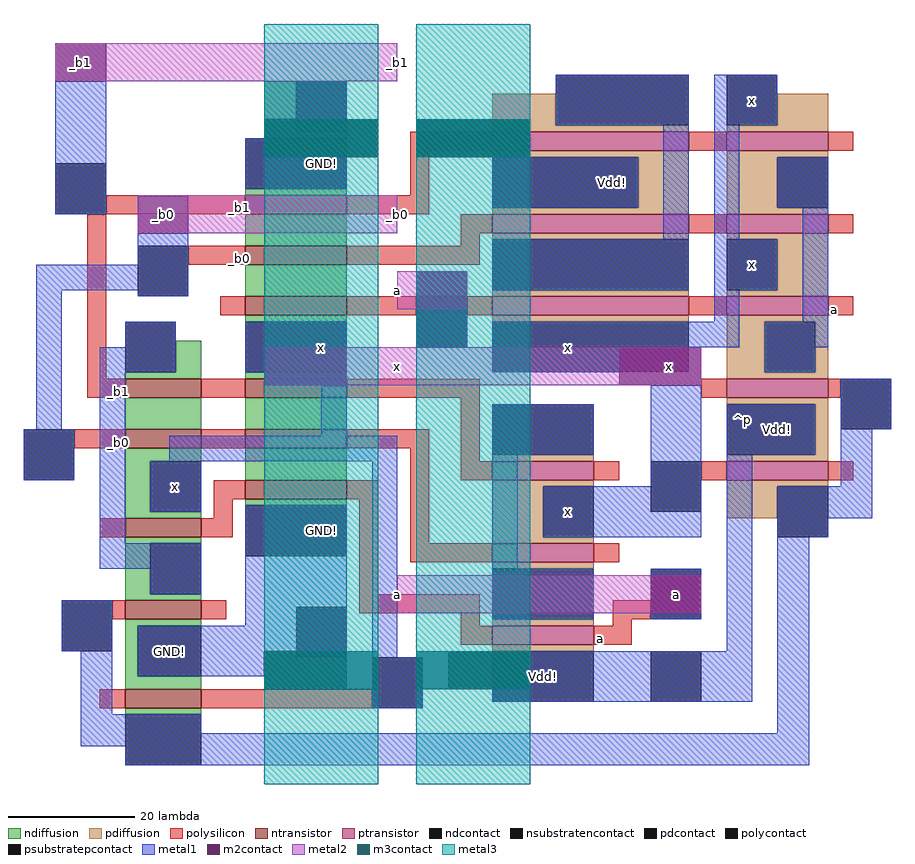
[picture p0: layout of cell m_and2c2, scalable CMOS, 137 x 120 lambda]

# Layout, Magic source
magic
tech scmos
<< ndiffusion >>
rect -21 130 -16 138
rect -21 129 -8 130
rect -24 120 -8 121
rect -24 112 -8 117
rect -24 104 -8 109
rect -24 100 -8 101
rect -35 92 -31 97
rect -43 91 -31 92
rect -24 91 -8 92
rect -43 83 -31 88
rect -24 83 -8 88
rect -43 78 -31 80
rect -43 70 -39 78
rect -24 75 -8 80
rect -43 69 -31 70
rect -24 71 -8 72
rect -43 65 -31 66
rect -43 57 -39 65
rect -43 56 -31 57
rect -43 52 -31 53
rect -43 44 -41 52
rect -43 42 -31 44
rect -43 38 -31 39
<< pdiffusion >>
rect 15 131 25 136
rect 15 130 46 131
rect 60 131 68 136
rect 52 130 68 131
rect 15 126 46 127
rect 38 118 46 126
rect 15 117 46 118
rect 52 126 68 127
rect 52 118 60 126
rect 52 117 68 118
rect 15 113 46 114
rect 15 104 46 105
rect 52 113 68 114
rect 60 105 68 113
rect 52 104 68 105
rect 15 100 46 101
rect 52 100 68 101
rect 52 92 58 100
rect 66 92 68 100
rect 52 91 68 92
rect 52 87 68 88
rect 15 78 31 79
rect 66 79 68 87
rect 52 78 68 79
rect 15 74 31 75
rect 15 66 23 74
rect 52 74 68 75
rect 52 69 60 74
rect 15 65 31 66
rect 15 61 31 62
rect 15 52 31 53
rect 15 48 31 49
<< ntransistor >>
rect -24 117 -8 120
rect -24 109 -8 112
rect -24 101 -8 104
rect -43 88 -31 91
rect -24 88 -8 91
rect -43 80 -31 83
rect -24 80 -8 83
rect -24 72 -8 75
rect -43 66 -31 69
rect -43 53 -31 56
rect -43 39 -31 42
<< ptransistor >>
rect 15 127 46 130
rect 52 127 68 130
rect 15 114 46 117
rect 52 114 68 117
rect 15 101 46 104
rect 52 101 68 104
rect 52 88 68 91
rect 15 75 31 78
rect 52 75 68 78
rect 15 62 31 65
rect 15 49 31 52
<< polysilicon >>
rect 2 127 15 130
rect 46 127 52 130
rect 68 127 72 130
rect 2 120 5 127
rect -46 117 -24 120
rect -8 117 5 120
rect -49 91 -46 117
rect 10 114 15 117
rect 46 114 52 117
rect 68 114 72 117
rect 10 112 13 114
rect -33 109 -24 112
rect -8 109 13 112
rect -28 101 -24 104
rect -8 101 3 104
rect 11 101 15 104
rect 46 101 52 104
rect 68 101 72 104
rect -49 88 -43 91
rect -31 88 -24 91
rect -8 88 13 91
rect 48 88 52 91
rect 68 88 70 91
rect -51 80 -43 83
rect -31 80 -24 83
rect -8 80 5 83
rect -29 72 -24 75
rect -8 72 -3 75
rect -29 69 -26 72
rect -47 66 -43 69
rect -31 66 -26 69
rect -6 57 -3 72
rect 2 65 5 80
rect 10 78 13 88
rect 10 75 15 78
rect 31 75 35 78
rect 48 75 52 78
rect 68 75 72 78
rect 2 62 15 65
rect 31 62 35 65
rect -45 53 -43 56
rect -31 53 -27 56
rect -6 54 13 57
rect 10 52 13 54
rect 34 53 40 56
rect 34 52 37 53
rect 10 49 15 52
rect 31 49 37 52
rect -47 39 -43 42
rect -31 39 -4 42
<< ndcontact >>
rect -24 121 -8 129
rect -43 92 -35 100
rect -24 92 -8 100
rect -39 70 -31 78
rect -39 57 -31 65
rect -24 63 -8 71
rect -41 44 -31 52
rect -43 30 -31 38
<< pdcontact >>
rect 25 131 46 139
rect 52 131 60 139
rect 15 118 38 126
rect 60 118 68 126
rect 15 105 46 113
rect 52 105 60 113
rect 15 92 46 100
rect 58 92 66 100
rect 15 79 31 87
rect 52 79 66 87
rect 23 66 31 74
rect 60 66 68 74
rect 15 53 31 61
rect 15 40 31 48
<< psubstratepcontact >>
rect -16 130 -8 138
rect -16 47 -8 55
<< nsubstratencontact >>
rect 40 40 48 48
<< polycontact >>
rect -54 117 -46 125
rect -41 104 -33 112
rect 3 96 11 104
rect -59 75 -51 83
rect 70 83 78 91
rect 40 70 48 78
rect -53 48 -45 56
rect 40 53 48 61
rect -4 39 4 47
<< metal1 >>
rect -54 117 -46 138
rect -21 132 -8 138
rect -24 126 -21 129
rect 25 131 46 139
rect -24 121 -8 126
rect 15 118 38 126
rect -41 109 -33 114
rect 42 113 46 131
rect -57 105 -33 109
rect -57 83 -53 105
rect -41 104 -33 105
rect 15 105 46 113
rect 50 131 60 139
rect 50 113 54 131
rect 60 118 68 126
rect 50 105 60 113
rect -43 96 -35 100
rect -47 92 -35 96
rect -24 96 -8 100
rect 3 96 11 102
rect 50 100 54 105
rect 64 100 68 118
rect 15 96 54 100
rect 58 96 68 100
rect -24 92 -21 96
rect -59 75 -51 83
rect -47 65 -43 92
rect 15 92 35 96
rect 58 92 66 96
rect -12 82 -8 90
rect -36 78 0 82
rect -39 70 -31 78
rect -47 61 -31 65
rect -39 57 -31 61
rect -53 48 -45 56
rect -24 52 -8 71
rect -50 38 -45 48
rect -41 48 -8 52
rect -41 44 -21 48
rect -4 47 0 78
rect 15 79 31 87
rect 15 61 19 79
rect 40 74 48 90
rect 23 66 48 74
rect 52 79 66 87
rect 70 83 78 91
rect 15 53 31 61
rect 40 60 48 61
rect 40 53 48 54
rect 52 48 56 79
rect 70 74 75 83
rect -4 39 4 47
rect 21 42 56 48
rect 15 40 56 42
rect 60 69 75 74
rect 60 66 68 69
rect -50 35 -31 38
rect 60 35 65 66
rect -50 33 65 35
rect -43 30 65 33
<< m2contact >>
rect -54 138 -46 144
rect -21 126 -3 132
rect 3 126 21 132
rect -41 114 -33 120
rect 3 102 11 108
rect -21 90 -8 96
rect 35 90 48 96
rect -21 42 -8 48
rect 40 54 48 60
rect 8 42 21 48
<< metal2 >>
rect -54 138 0 144
rect -41 114 0 120
rect 0 102 11 108
rect -21 90 48 96
rect 0 54 48 60
<< m3contact >>
rect -21 126 -3 132
rect 3 126 21 132
rect -21 42 -3 48
rect 3 42 21 48
<< metal3 >>
rect -21 27 -3 147
rect 3 27 21 147
<< labels >>
rlabel polysilicon 69 102 69 102 1 a
rlabel metal1 60 83 60 83 1 Vdd!
rlabel polysilicon 32 50 32 50 1 a
rlabel metal1 -12 96 -12 96 5 x
rlabel metal1 27 96 27 96 1 x
rlabel metal1 27 70 27 70 1 x
rlabel metal1 -12 125 -12 125 5 GND!
rlabel metal1 -12 67 -12 67 1 GND!
rlabel metal1 23 44 23 44 1 Vdd!
rlabel polysilicon -44 89 -44 89 1 _b1
rlabel polysilicon -44 81 -44 81 1 _b0
rlabel metal1 -35 74 -35 74 1 x
rlabel polysilicon -25 118 -25 118 1 _b1
rlabel polysilicon -25 110 -25 110 1 _b0
rlabel metal1 -36 48 -36 48 1 GND!
rlabel metal1 56 109 56 109 1 x
rlabel metal1 56 135 56 135 5 x
rlabel metal1 34 122 34 122 1 Vdd!
rlabel metal2 0 138 0 144 7 _b1
rlabel metal2 0 114 0 120 7 _b0
rlabel metal2 0 102 0 108 3 a
rlabel metal2 0 93 0 93 1 x
rlabel metal2 0 54 0 60 3 a
rlabel space 30 29 79 140 3 ^p
rlabel space -60 29 -24 145 7 ^n
rlabel metal2 -50 141 -50 141 1 _b1
rlabel metal2 -37 117 -37 117 1 _b0
rlabel metal2 43 93 43 93 1 x
rlabel metal2 44 57 44 57 1 a
<< end >>
